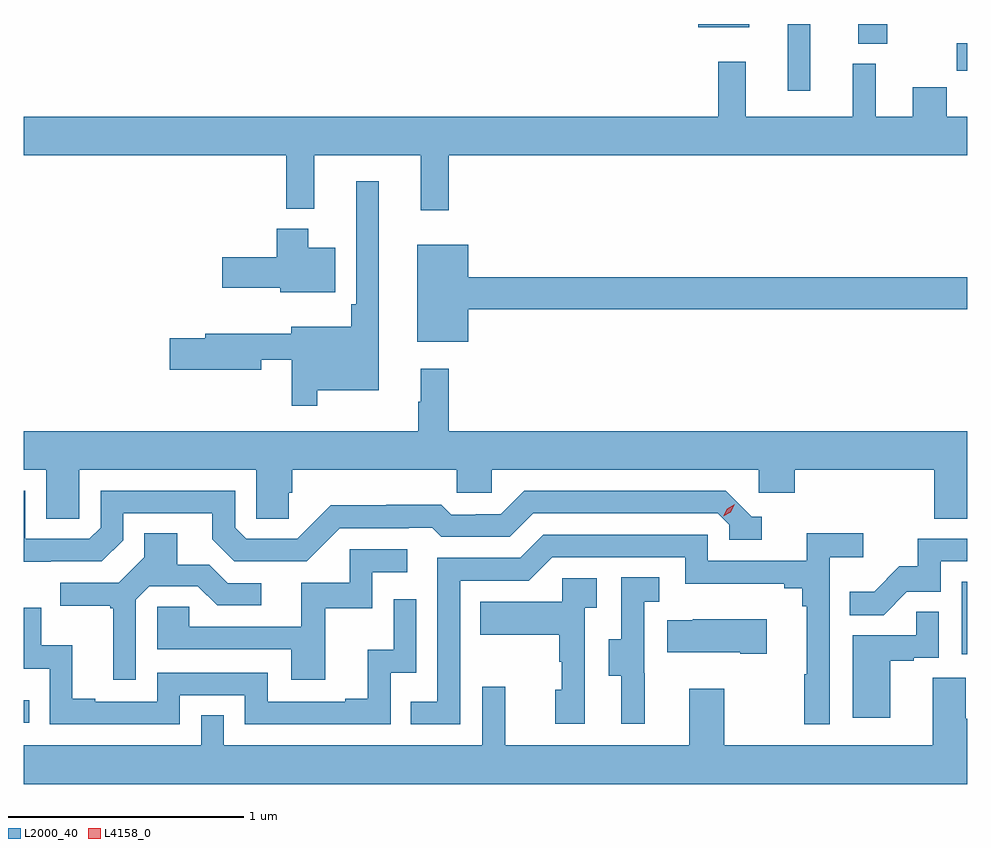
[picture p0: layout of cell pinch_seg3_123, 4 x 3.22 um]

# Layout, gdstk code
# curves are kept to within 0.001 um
import gdstk
lib = gdstk.Library(unit=1e-6, precision=1e-09)
def R(c, l, rs):  # rectangles x0, y0, x1, y1
    for r in rs: c.add(gdstk.rectangle(r[:2], r[2:], *l))
def P(c, l, *ps):  # polygons
    for p in ps: c.add(gdstk.Polygon(p, *l))
L2000_40 = (2000, 40)
L4158_0 = (4158, 0)

pinch_seg3_123 = lib.new_cell('pinch_seg3_123')
R(pinch_seg3_123, L2000_40, [(1114.876,713.163,1114.901,713.26), (1118.852,713.454,1118.876,713.761), (1118.114,715.842,1118.211,716.125), (1118.83,715.926,1118.876,716.044), (1117.736,716.111,1117.951,716.125)])
P(pinch_seg3_123, L2000_40, [(1118.536,716.125),(1118.3,716.125),(1118.3,716.123),(1118.414,716.123),(1118.414,716.042),(1118.536,716.042)],
  [(1116.677,715.568),(1118.876,715.568),(1118.876,715.732),(1118.789,715.732),(1118.789,715.856),(1118.645,715.856),(1118.645,715.732),(1118.488,715.732),(1118.488,715.957),(1118.39,715.957),(1118.39,715.732),(1117.937,715.732),(1117.937,715.966),(1117.819,715.966),(1117.819,715.732),(1114.876,715.732),(1114.876,715.568),(1115.989,715.568),(1115.989,715.343),(1116.107,715.343),(1116.107,715.568),(1116.56,715.568),(1116.56,715.335),(1116.677,715.335)],
  [(1116.121,714.572),(1116.382,714.572),(1116.382,715.459),(1116.285,715.459),(1116.285,714.937),(1116.265,714.937),(1116.265,714.841),(1116.011,714.841),(1116.011,714.812),(1115.645,714.812),(1115.645,714.794),(1115.496,714.794),(1115.496,714.659),(1115.884,714.659),(1115.884,714.702),(1116.012,714.702),(1116.012,714.507),(1116.121,714.507)],
  [(1116.196,715.177),(1116.082,715.177),(1116.082,715.258),(1115.948,715.258),(1115.948,715.137),(1115.718,715.137),(1115.718,715.007),(1115.964,715.007),(1115.964,714.989),(1116.196,714.989)],
  [(1116.76,714.916),(1118.876,714.916),(1118.876,715.052),(1116.76,715.052),(1116.76,715.189),(1116.545,715.189),(1116.545,714.779),(1116.76,714.779)],
  [(1115.112,714.236),(1115.862,714.236),(1115.862,714.028),(1115.999,714.028),(1115.999,714.138),(1116.014,714.138),(1116.014,714.236),(1116.711,714.236),(1116.711,714.138),(1116.861,714.138),(1116.861,714.236),(1117.992,714.236),(1117.992,714.138),(1118.144,714.138),(1118.144,714.236),(1118.735,714.236),(1118.735,714.028),(1118.876,714.028),(1118.876,714.4),(1116.677,714.4),(1116.677,714.664),(1116.56,714.664),(1116.56,714.524),(1116.549,714.524),(1116.549,714.4),(1114.876,714.4),(1114.876,714.236),(1114.973,714.236),(1114.973,714.028),(1115.112,714.028)],
  [(1114.992,713.847),(1115.208,713.847),(1115.298,713.937),(1115.298,714.051),(1115.675,714.051),(1115.675,713.941),(1115.769,713.847),(1116.075,713.847),(1116.216,713.988),(1116.509,713.988),(1116.509,713.991),(1116.608,713.991),(1116.647,713.952),(1116.936,713.952),(1117.035,714.051),(1117.818,714.051),(1117.866,714.003),(1117.866,713.94),(1118.005,713.94),(1118.005,714.036),(1117.962,714.036),(1117.851,714.147),(1116.998,714.147),(1116.899,714.048),(1116.792,714.048),(1116.792,714.045),(1116.689,714.045),(1116.647,714.088),(1116.414,714.088),(1116.414,714.085),(1116.178,714.085),(1116.036,713.943),(1115.82,713.943),(1115.772,713.991),(1115.772,714.147),(1115.202,714.147),(1115.202,713.991),(1115.154,713.943),(1114.884,713.943),(1114.884,714.147),(1114.876,714.147),(1114.876,713.846)],
  [(1116.726,713.766),(1117.017,713.766),(1117.116,713.865),(1117.68,713.865),(1117.68,713.753),(1118.099,713.753),(1118.099,713.734),(1118.176,713.734),(1118.176,713.657),(1118.195,713.657),(1118.195,713.369),(1118.184,713.369),(1118.184,713.157),(1118.292,713.157),(1118.292,713.864),(1118.434,713.864),(1118.434,713.966),(1118.195,713.966),(1118.195,713.85),(1117.776,713.85),(1117.776,713.961),(1117.079,713.961),(1116.98,713.862),(1116.63,713.862),(1116.63,713.253),(1116.517,713.253),(1116.517,713.157),(1116.726,713.157)],
  [(1115.352,713.685),(1115.409,713.742),(1115.615,713.742),(1115.696,713.661),(1115.884,713.661),(1115.884,713.754),(1115.742,713.754),(1115.662,713.834),(1115.527,713.834),(1115.527,713.966),(1115.387,713.966),(1115.387,713.864),(1115.28,713.757),(1115.031,713.757),(1115.031,713.66),(1115.244,713.66),(1115.244,713.649),(1115.255,713.649),(1115.255,713.346),(1115.352,713.346)],
  [(1118.619,713.718),(1118.763,713.718),(1118.763,713.847),(1118.876,713.847),(1118.876,713.943),(1118.665,713.943),(1118.665,713.826),(1118.588,713.826),(1118.481,713.719),(1118.377,713.719),(1118.377,713.62),(1118.521,713.62)],
  [(1116.155,713.649),(1116.354,713.649),(1116.354,713.802),(1116.502,713.802),(1116.502,713.898),(1116.258,713.898),(1116.258,713.757),(1116.053,713.757),(1116.053,713.571),(1115.579,713.571),(1115.579,713.655),(1115.442,713.655),(1115.442,713.475),(1116.011,713.475),(1116.011,713.346),(1116.155,713.346)],
  [(1117.508,713.373),(1117.506,713.373),(1117.506,713.677),(1117.57,713.677),(1117.57,713.78),(1117.41,713.78),(1117.41,713.517),(1117.355,713.517),(1117.355,713.362),(1117.409,713.362),(1117.409,713.16),(1117.508,713.16)],
  [(1117.254,713.651),(1117.306,713.651),(1117.306,713.775),(1117.158,713.775),(1117.158,713.677),(1116.811,713.677),(1116.811,713.537),(1117.146,713.537),(1117.146,713.423),(1117.156,713.423),(1117.156,713.304),(1117.13,713.304),(1117.13,713.16),(1117.254,713.16)],
  [(1115.538,713.28),(1115.814,713.28),(1115.814,713.157),(1116.432,713.157),(1116.432,713.376),(1116.54,713.376),(1116.54,713.686),(1116.444,713.686),(1116.444,713.474),(1116.335,713.474),(1116.335,713.266),(1116.239,713.266),(1116.239,713.253),(1115.91,713.253),(1115.91,713.376),(1115.442,713.376),(1115.442,713.253),(1115.179,713.253),(1115.179,713.266),(1115.083,713.266),(1115.083,713.491),(1114.95,713.491),(1114.95,713.652),(1114.876,713.652),(1114.876,713.393),(1114.986,713.393),(1114.986,713.157),(1115.538,713.157)],
  [(1118.548,713.427),(1118.648,713.427),(1118.648,713.439),(1118.754,713.439),(1118.754,713.633),(1118.659,713.633),(1118.659,713.535),(1118.39,713.535),(1118.39,713.184),(1118.548,713.184)],
  [(1118.026,713.602),(1117.711,713.602),(1117.711,713.599),(1117.603,713.599),(1117.603,713.462),(1117.913,713.462),(1117.913,713.455),(1118.026,713.455)],
  [(1118.876,713.18),(1118.869,713.18),(1118.869,713.354),(1118.729,713.354),(1118.729,713.068),(1117.845,713.068),(1117.845,713.308),(1117.697,713.308),(1117.697,713.068),(1116.917,713.068),(1116.917,713.317),(1116.819,713.317),(1116.819,713.068),(1115.724,713.068),(1115.724,713.195),(1115.628,713.195),(1115.628,713.068),(1114.876,713.068),(1114.876,712.904),(1118.876,712.904)])
P(pinch_seg3_123, L4158_0, [(1117.841,714.038),(1117.841,714.038),(1117.858,714.07),(1117.889,714.089),(1117.89,714.089),(1117.89,714.089),(1117.872,714.056),(1117.841,714.038)])

lib.write_gds('pinch_seg3_123.gds')
